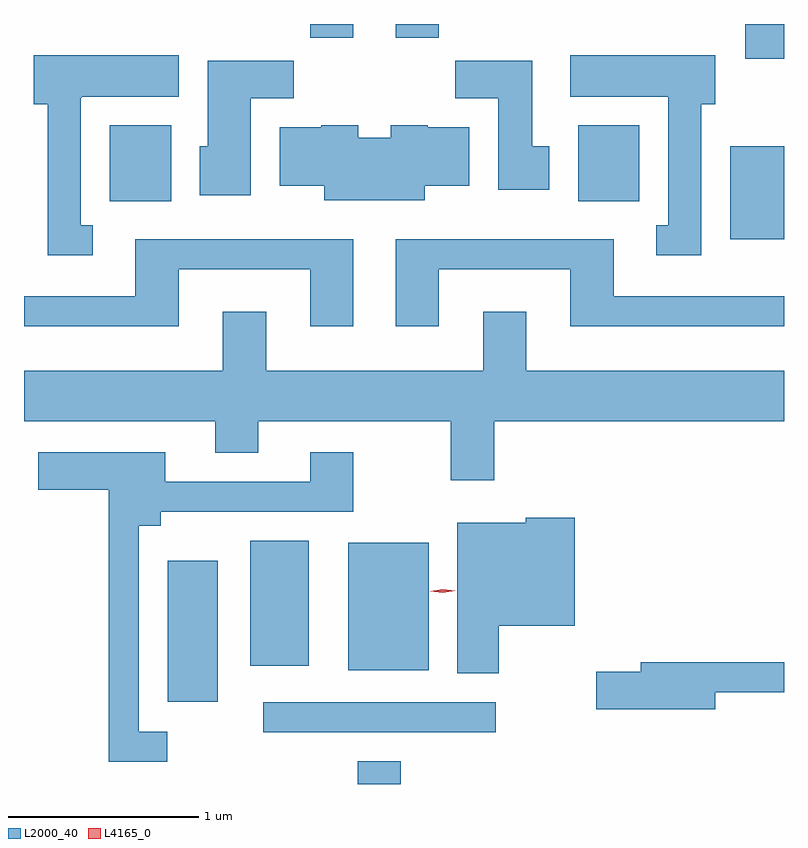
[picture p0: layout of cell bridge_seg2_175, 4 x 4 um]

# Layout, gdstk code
import gdstk
lib = gdstk.Library(unit=1e-6, precision=1e-09)
def R(c, l, rs):  # rectangles x0, y0, x1, y1
    for r in rs: c.add(gdstk.rectangle(r[:2], r[2:], *l))
def P(c, l, *ps):  # polygons
    for p in ps: c.add(gdstk.Polygon(p, *l))
L2000_40 = (2000, 40)
L4165_0 = (4165, 0)

bridge_seg2_175 = lib.new_cell('bridge_seg2_175')
R(bridge_seg2_175, L2000_40, [(851.521,1028.648,851.749,1028.769), (851.023,1028.921,852.248,1029.079), (850.521,1029.081,850.784,1029.824), (851.471,1029.246,851.894,1029.919), (850.956,1029.271,851.264,1029.929), (853.481,1031.516,853.765,1032.004), (850.216,1031.716,850.539,1032.114), (852.681,1031.716,853.004,1032.114), (853.561,1032.466,853.765,1032.648), (851.271,1032.576,851.499,1032.648), (851.721,1032.576,851.949,1032.648)])
P(bridge_seg2_175, L2000_40, [(850.128,1031.589),(850.064,1031.589),(850.064,1032.26),(850.07,1032.26),(850.07,1032.266),(850.579,1032.266),(850.579,1032.484),(849.816,1032.484),(849.816,1032.226),(849.891,1032.226),(849.891,1031.431),(850.128,1031.431)],
  [(853.329,1032.226),(853.404,1032.226),(853.404,1032.484),(852.641,1032.484),(852.641,1032.266),(853.156,1032.266),(853.156,1031.589),(853.093,1031.589),(853.093,1031.431),(853.329,1031.431)],
  [(852.529,1032.004),(852.439,1032.004),(852.439,1032.454),(852.036,1032.454),(852.036,1032.256),(852.261,1032.256),(852.261,1031.776),(852.529,1031.776)],
  [(850.959,1032.256),(851.184,1032.256),(851.184,1032.454),(850.731,1032.454),(850.731,1032.004),(850.691,1032.004),(850.691,1031.746),(850.959,1031.746)],
  [(851.874,1031.796),(852.109,1031.796),(852.109,1032.104),(851.89,1032.104),(851.89,1032.114),(851.696,1032.114),(851.696,1032.049),(851.524,1032.049),(851.524,1032.114),(851.33,1032.114),(851.33,1032.104),(851.111,1032.104),(851.111,1031.796),(851.346,1031.796),(851.346,1031.721),(851.874,1031.721)],
  [(851.949,1031.356),(852.641,1031.356),(852.641,1031.056),(853.765,1031.056),(853.765,1031.214),(852.869,1031.214),(852.869,1031.514),(851.721,1031.514),(851.721,1031.056),(851.949,1031.056)],
  [(850.579,1031.356),(851.271,1031.356),(851.271,1031.056),(851.499,1031.056),(851.499,1031.514),(850.351,1031.514),(850.351,1031.214),(849.765,1031.214),(849.765,1031.056),(850.579,1031.056)],
  [(852.239,1030.556),(853.765,1030.556),(853.765,1030.824),(852.409,1030.824),(852.409,1031.134),(852.181,1031.134),(852.181,1030.824),(851.039,1030.824),(851.039,1031.134),(850.811,1031.134),(850.811,1030.824),(849.765,1030.824),(849.765,1030.556),(850.771,1030.556),(850.771,1030.391),(850.999,1030.391),(850.999,1030.556),(852.011,1030.556),(852.011,1030.246),(852.239,1030.246)],
  [(850.518,1028.924),(850.369,1028.924),(850.369,1030.006),(850.484,1030.006),(850.484,1030.081),(851.499,1030.081),(851.499,1030.394),(851.271,1030.394),(851.271,1030.239),(850.509,1030.239),(850.509,1030.394),(849.841,1030.394),(849.841,1030.196),(850.211,1030.196),(850.211,1028.766),(850.518,1028.766)],
  [(852.264,1029.481),(852.664,1029.481),(852.664,1030.049),(852.406,1030.049),(852.406,1030.024),(852.046,1030.024),(852.046,1029.231),(852.264,1029.231)],
  [(853.404,1029.131),(853.765,1029.131),(853.765,1029.289),(853.011,1029.289),(853.011,1029.239),(852.776,1029.239),(852.776,1029.041),(853.404,1029.041)])
P(bridge_seg2_175, L4165_0, [(851.97,1029.654),(851.904,1029.662),(851.903,1029.663),(851.904,1029.663),(851.97,1029.674),(852.036,1029.665),(852.036,1029.664),(852.036,1029.664)])

lib.write_gds('bridge_seg2_175.gds')
